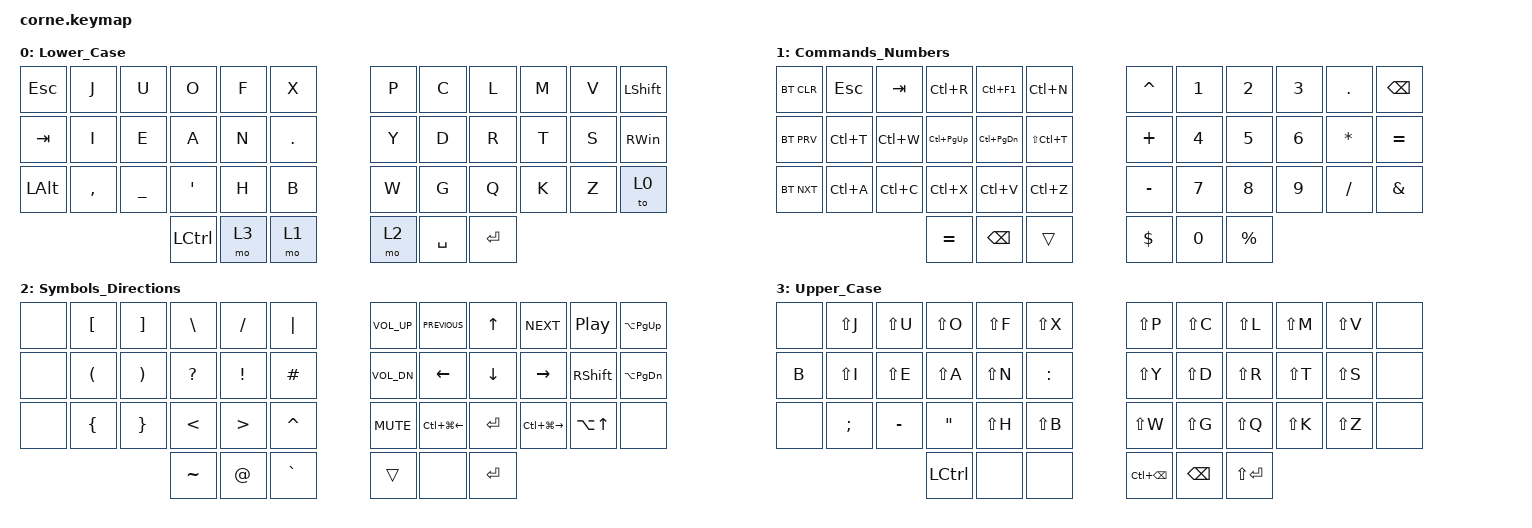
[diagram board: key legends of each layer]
/*
 * Copyright (c) 2020 The ZMK Contributors
 *
 * SPDX-License-Identifier: MIT
 */

#include <behaviors.dtsi>
#include <dt-bindings/zmk/bt.h>
#include <dt-bindings/zmk/keys.h>

/ {
    keymap {
        compatible = "zmk,keymap";

        Lower_Case {
            // -----------------------------------------------------------------------------------------
            // |  TAB |  Q  |  W  |  E  |  R  |  T  |   |  Y  |  U   |  I  |  O  |  P  | BKSP |
            // | CTRL |  A  |  S  |  D  |  F  |  G  |   |  H  |  J   |  K  |  L  |  ;  |  '   |
            // | SHFT |  Z  |  X  |  C  |  V  |  B  |   |  N  |  M   |  ,  |  .  |  /  | ESC  |
            //                    | GUI | LWR | SPC |   | ENT | RSE  | ALT |

            bindings = <
&kp ESC       &kp J      &kp U      &kp O             &kp F  &kp X       &kp P  &kp C      &kp L      &kp M  &kp V  &kp LEFT_SHIFT
&kp TAB       &kp I      &kp E      &kp A             &kp N  &kp PERIOD  &kp Y  &kp D      &kp R      &kp T  &kp S  &kp RIGHT_WIN
&kp LEFT_ALT  &kp COMMA  &kp UNDER  &kp SINGLE_QUOTE  &kp H  &kp B       &kp W  &kp G      &kp Q      &kp K  &kp Z  &to 0
                                    &kp LEFT_CONTROL  &mo 3  &mo 1       &mo 2  &kp SPACE  &kp ENTER
            >;
        };

        Commands_Numbers {
            // -----------------------------------------------------------------------------------------
            // |  TAB |  1  |  2  |  3  |  4  |  5  |   |  6  |  7  |  8  |  9  |  0  | BKSP |
            // | BTCLR| BT1 | BT2 | BT3 | BT4 | BT5 |   | LFT | DWN |  UP | RGT |     |      |
            // | SHFT |     |     |     |     |     |   |     |     |     |     |     |      |
            //                    | GUI |     | SPC |   | ENT |     | ALT |

            bindings = <
&bt BT_CLR  &kp ESC    &kp TAB    &kp LC(R)        &kp LC(F1)         &kp LC(N)      &kp CARET   &kp NUMBER_1  &kp NUMBER_2  &kp NUMBER_3  &kp PERIOD  &kp BSPC
&bt BT_PRV  &kp LC(T)  &kp LC(W)  &kp LC(PAGE_UP)  &kp LC(PAGE_DOWN)  &kp LS(LC(T))  &kp PLUS    &kp NUMBER_4  &kp NUMBER_5  &kp NUMBER_6  &kp ASTRK   &kp EQUAL
&bt BT_NXT  &kp LC(A)  &kp LC(C)  &kp LC(X)        &kp LC(V)          &kp LC(Z)      &kp MINUS   &kp NUMBER_7  &kp NUMBER_8  &kp NUMBER_9  &kp SLASH   &kp AMPERSAND
                                  &kp EQUAL        &kp BACKSPACE      &trans         &kp DOLLAR  &kp NUMBER_0  &kp PERCENT
            >;
        };

        Symbols_Directions {
            bindings = <
&none  &kp LEFT_BRACKET      &kp RIGHT_BRACKET      &kp BACKSLASH  &kp SLASH         &kp PIPE   &kp C_VOL_UP  &kp C_PREVIOUS    &kp UP_ARROW    &kp C_NEXT         &kp C_PLAY_PAUSE  &kp LA(PAGE_UP)
&none  &kp LEFT_PARENTHESIS  &kp RIGHT_PARENTHESIS  &kp QUESTION   &kp EXCLAMATION   &kp HASH   &kp C_VOL_DN  &kp LEFT_ARROW    &kp DOWN_ARROW  &kp RIGHT_ARROW    &kp RIGHT_SHIFT   &kp LA(PAGE_DOWN)
&none  &kp LBRC              &kp RIGHT_BRACE        &kp LESS_THAN  &kp GREATER_THAN  &kp CARET  &kp C_MUTE    &kp LC(LG(LEFT))  &kp ENTER       &kp LC(LG(RIGHT))  &kp LA(UP_ARROW)  &none
                                                    &kp TILDE      &kp AT            &kp GRAVE  &trans        &none             &kp ENTER
            >;
        };

        Upper_Case {
            bindings = <
&none  &kp LS(J)  &kp LS(U)  &kp LS(O)          &kp LS(F)  &kp LS(X)  &kp LS(P)          &kp LS(C)      &kp LS(L)      &kp LS(M)  &kp LS(V)  &none
&kp B  &kp LS(I)  &kp LS(E)  &kp LS(A)          &kp LS(N)  &kp COLON  &kp LS(Y)          &kp LS(D)      &kp LS(R)      &kp LS(T)  &kp LS(S)  &none
&none  &kp SEMI   &kp MINUS  &kp DOUBLE_QUOTES  &kp LS(H)  &kp LS(B)  &kp LS(W)          &kp LS(G)      &kp LS(Q)      &kp LS(K)  &kp LS(Z)  &none
                             &kp LCTRL          &none      &none      &kp LC(BACKSPACE)  &kp BACKSPACE  &kp LS(ENTER)
            >;
        };
    };
};

&nice_view_spi { cs-gpios = <&pro_micro 0 GPIO_ACTIVE_HIGH>; };
